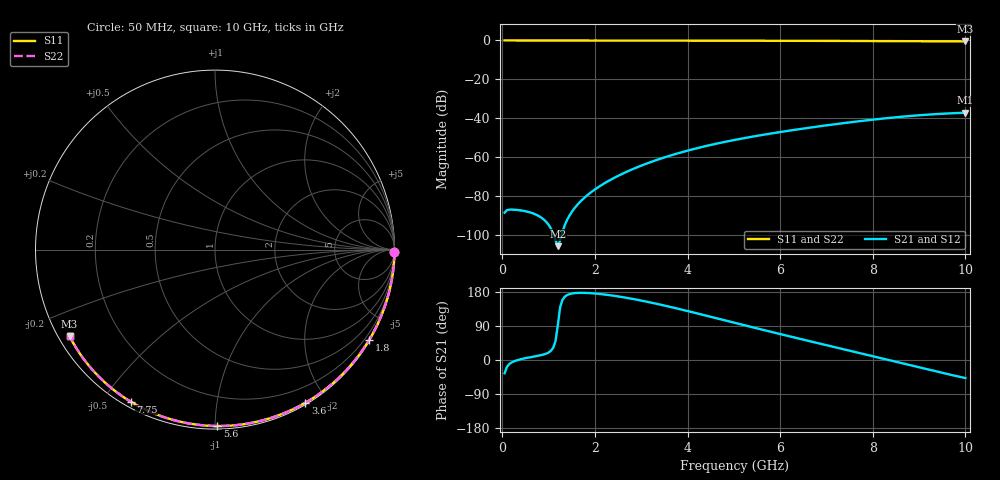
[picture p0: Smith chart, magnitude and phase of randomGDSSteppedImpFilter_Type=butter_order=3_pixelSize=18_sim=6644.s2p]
! freq	dB(S11)	phase(S11)	dB(S12)	phase(S12)
!  dB(S21)	phase(S21)	dB(S22)	phase(S22)
!S-par simulation data
#  GHz  S  DB  R 50
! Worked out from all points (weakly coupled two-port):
!   200 points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, 50 MHz to 10 GHz, reference 50 ohm
!   highest |S21| = -37.18 dB at 10 GHz (marker M1); lowest = -105.9 dB at 1.2 GHz (marker M2)
!   lowest |S11| = -0.5 dB at 10 GHz (marker M3), VSWR 34.28, Z = 1.57 - j13.8 ohm
!   |S11| at or under -10 dB: nowhere
!   |S22| runs from -0.5 to 0.0 dB; largest |S21 - S12| = 0
!   S11 on the Smith chart (normalised r, x): 50 MHz: open; 1.8 GHz: 0.03, -3.67; 3.6 GHz: 0.02, -1.75; 5.6 GHz: 0.02, -1.01; 7.75 GHz: 0.02, -0.59; 10 GHz: 0.03, -0.28
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0.05  -0.00 -0.9  -88.62 -35.1  -88.62 -35.1  -0.00 -0.9
0.6  -0.01 -10.3  -88.49 7.2  -88.49 7.2  -0.01 -10.3
1.2  -0.02 -20.4  -105.88 92.3  -105.88 92.3  -0.02 -20.4
1.75  -0.04 -29.6  -81.43 177.3  -81.43 177.3  -0.04 -29.6
1.8  -0.04 -30.5  -80.37 177.1  -80.37 177.1  -0.04 -30.5
1.85  -0.04 -31.3  -79.37 176.8  -79.37 176.8  -0.04 -31.3
2  -0.04 -33.8  -76.67 175.5  -76.67 175.5  -0.04 -33.8
2.15  -0.05 -36.2  -74.32 173.7  -74.32 173.7  -0.05 -36.2
2.5  -0.05 -41.9  -69.70 167.8  -69.70 167.8  -0.05 -41.9
2.9  -0.06 -48.4  -65.39 159.2  -65.39 159.2  -0.06 -48.4
3.4  -0.07 -56.3  -60.98 146.5  -60.98 146.5  -0.07 -56.3
3.6  -0.08 -59.4  -59.45 140.9  -59.45 140.9  -0.08 -59.4
3.9  -0.09 -64.1  -57.36 132.2  -57.36 132.2  -0.09 -64.1
4.3  -0.10 -70.2  -54.89 120.2  -54.89 120.2  -0.10 -70.2
5.05  -0.13 -81.3  -51.05 97.2  -51.05 97.2  -0.13 -81.3
5.6  -0.15 -89.3  -48.69 80.4  -48.69 80.4  -0.15 -89.3
6.15  -0.17 -97.1  -46.59 64.0  -46.59 64.0  -0.17 -97.1
6.7  -0.20 -104.8  -44.67 47.8  -44.67 47.8  -0.20 -104.8
7.75  -0.28 -119.1  -41.43 17.2  -41.43 17.2  -0.28 -119.1
8.35  -0.32 -127.1  -39.87 -0.5  -39.87 -0.5  -0.32 -127.1
9.15  -0.40 -137.8  -38.24 -24.0  -38.24 -24.0  -0.40 -137.8
10  -0.51 -149.2  -37.18 -47.6  -37.18 -47.6  -0.51 -149.2
